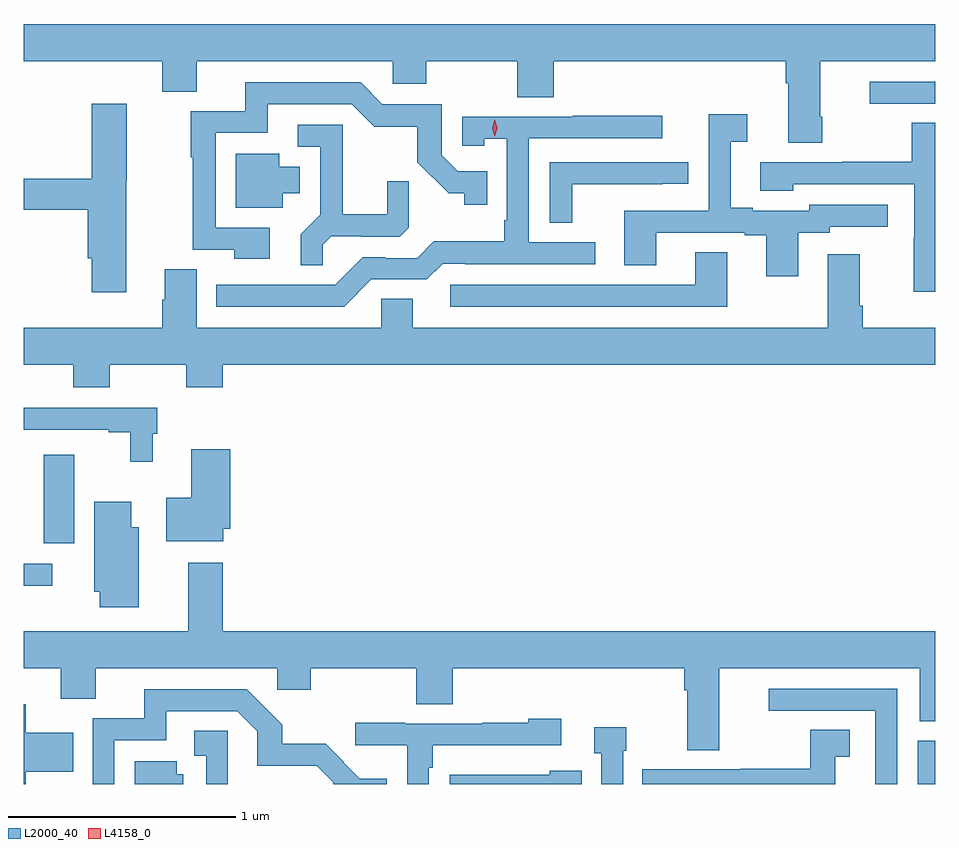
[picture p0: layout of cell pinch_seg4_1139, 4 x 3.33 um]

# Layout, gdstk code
import gdstk
lib = gdstk.Library(unit=1e-6, precision=1e-09)
def R(c, l, rs):  # rectangles x0, y0, x1, y1
    for r in rs: c.add(gdstk.rectangle(r[:2], r[2:], *l))
def P(c, l, *ps):  # polygons
    for p in ps: c.add(gdstk.Polygon(p, *l))
L2000_40 = (2000, 40)
L4158_0 = (4158, 0)

pinch_seg4_1139 = lib.new_cell('pinch_seg4_1139')
R(pinch_seg4_1139, L2000_40, [(422.277,760.349,422.354,760.539), (418.354,761.219,418.48,761.316), (418.442,761.406,418.576,761.794), (422.067,763.335,422.354,763.431)])
P(pinch_seg4_1139, L2000_40, [(421.857,763.276),(421.849,763.276),(421.849,763.52),(422.354,763.52),(422.354,763.684),(418.354,763.684),(418.354,763.52),(418.961,763.52),(418.961,763.387),(419.113,763.387),(419.113,763.52),(419.973,763.52),(419.973,763.422),(420.12,763.422),(420.12,763.52),(420.52,763.52),(420.52,763.363),(420.68,763.363),(420.68,763.52),(421.697,763.52),(421.697,763.424),(421.709,763.424),(421.709,763.164),(421.857,763.164)],
  [(419.434,762.789),(419.196,762.789),(419.196,763.206),(419.425,763.206),(419.425,763.332),(419.793,763.332),(419.892,763.234),(420.081,763.234),(420.081,763.078),(420.218,762.941),(420.288,762.941),(420.288,762.891),(420.389,762.891),(420.389,763.038),(420.258,763.038),(420.189,763.107),(420.189,763.332),(419.928,763.332),(419.832,763.428),(419.327,763.428),(419.327,763.302),(419.088,763.302),(419.088,763.099),(419.095,763.099),(419.095,762.693),(419.278,762.693),(419.278,762.653),(419.434,762.653)],
  [(418.804,762.993),(418.806,762.993),(418.806,763.333),(418.652,763.333),(418.652,763.004),(418.354,763.004),(418.354,762.868),(418.634,762.868),(418.634,762.657),(418.652,762.657),(418.652,762.507),(418.804,762.507)],
  [(421.753,762.768),(421.89,762.768),(421.89,762.795),(422.146,762.795),(422.146,762.891),(421.8,762.891),(421.8,762.864),(421.552,762.864),(421.552,762.877),(421.456,762.877),(421.456,763.168),(421.528,763.168),(421.528,763.288),(421.359,763.288),(421.359,762.864),(420.989,762.864),(420.989,762.625),(421.129,762.625),(421.129,762.768),(421.517,762.768),(421.517,762.756),(421.613,762.756),(421.613,762.576),(421.753,762.576)],
  [(419.88,762.564),(420.123,762.564),(420.192,762.633),(420.292,762.633),(420.292,762.63),(420.862,762.63),(420.862,762.726),(420.57,762.726),(420.57,763.182),(421.156,763.182),(421.156,763.281),(420.763,763.281),(420.763,763.278),(420.279,763.278),(420.279,763.149),(420.375,763.149),(420.375,763.181),(420.474,763.181),(420.474,762.823),(420.462,762.823),(420.462,762.73),(420.154,762.73),(420.081,762.657),(419.942,762.657),(419.942,762.66),(419.841,762.66),(419.721,762.54),(419.198,762.54),(419.198,762.444),(419.76,762.444)],
  [(422.354,763.25),(422.25,763.25),(422.25,763.08),(421.945,763.08),(421.945,763.077),(421.587,763.077),(421.587,762.953),(421.731,762.953),(421.731,762.981),(422.262,762.981),(422.262,762.749),(422.26,762.749),(422.26,762.509),(422.354,762.509)],
  [(419.667,762.716),(419.704,762.753),(419.838,762.753),(419.838,762.75),(420.003,762.75),(420.044,762.791),(420.044,762.993),(419.95,762.993),(419.95,762.85),(419.753,762.85),(419.753,763.242),(419.556,763.242),(419.556,763.146),(419.655,763.146),(419.655,762.847),(419.569,762.761),(419.569,762.625),(419.667,762.625)],
  [(419.491,762.941),(419.566,762.941),(419.566,763.057),(419.476,763.057),(419.476,763.114),(419.285,763.114),(419.285,762.878),(419.491,762.878)],
  [(420.762,762.981),(421.157,762.981),(421.157,762.982),(421.27,762.982),(421.27,763.077),(420.663,763.077),(420.663,762.811),(420.762,762.811)],
  [(421.441,762.683),(421.301,762.683),(421.301,762.54),(420.225,762.54),(420.225,762.444),(421.441,762.444)],
  [(418.731,762.188),(419.068,762.188),(419.068,762.089),(419.228,762.089),(419.228,762.188),(422.354,762.188),(422.354,762.352),(422.036,762.352),(422.036,762.448),(422.023,762.448),(422.023,762.673),(421.883,762.673),(421.883,762.352),(420.061,762.352),(420.061,762.479),(419.922,762.479),(419.922,762.352),(419.113,762.352),(419.113,762.608),(418.973,762.608),(418.973,762.474),(418.961,762.474),(418.961,762.352),(418.354,762.352),(418.354,762.188),(418.571,762.188),(418.571,762.089),(418.731,762.089)],
  [(418.921,761.886),(418.94,761.886),(418.94,762),(418.354,762),(418.354,761.904),(418.727,761.904),(418.727,761.892),(418.822,761.892),(418.822,761.763),(418.921,761.763)],
  [(419.23,761.469),(419.261,761.469),(419.261,761.818),(419.09,761.818),(419.09,761.605),(418.979,761.605),(418.979,761.414),(419.23,761.414)],
  [(418.858,761.476),(418.825,761.476),(418.825,761.587),(418.664,761.587),(418.664,761.192),(418.688,761.192),(418.688,761.124),(418.858,761.124)],
  [(421.405,760.856),(422.285,760.856),(422.285,760.624),(422.354,760.624),(422.354,761.02),(419.228,761.02),(419.228,761.32),(419.075,761.32),(419.075,761.02),(418.354,761.02),(418.354,760.856),(418.517,760.856),(418.517,760.723),(418.669,760.723),(418.669,760.856),(419.466,760.856),(419.466,760.763),(419.613,760.763),(419.613,760.856),(420.076,760.856),(420.076,760.699),(420.236,760.699),(420.236,760.856),(421.253,760.856),(421.253,760.76),(421.265,760.76),(421.265,760.498),(421.405,760.498)],
  [(422.187,760.767),(421.623,760.767),(421.623,760.671),(422.09,760.671),(422.09,760.349),(422.187,760.349)],
  [(418.752,760.542),(418.98,760.542),(418.98,760.668),(419.292,760.668),(419.379,760.581),(419.379,760.428),(419.64,760.428),(419.714,760.355),(419.711,760.352),(419.714,760.349),(419.946,760.349),(419.946,760.373),(419.828,760.373),(419.756,760.445),(419.758,760.447),(419.68,760.526),(419.488,760.526),(419.488,760.609),(419.332,760.764),(418.883,760.764),(418.883,760.638),(418.656,760.638),(418.656,760.349),(418.752,760.349)],
  [(418.362,760.403),(418.571,760.403),(418.571,760.573),(418.362,760.573),(418.362,760.699),(418.354,760.699),(418.354,760.349),(418.362,760.349)],
  [(420.132,760.421),(420.149,760.421),(420.149,760.518),(420.712,760.518),(420.712,760.636),(420.567,760.636),(420.567,760.617),(420.367,760.617),(420.367,760.614),(420.029,760.614),(420.029,760.617),(419.808,760.617),(419.808,760.518),(420.035,760.518),(420.035,760.517),(420.036,760.517),(420.036,760.349),(420.132,760.349)],
  [(420.984,760.494),(420.997,760.494),(420.997,760.598),(420.857,760.598),(420.857,760.485),(420.888,760.485),(420.888,760.349),(420.984,760.349)],
  [(421.914,760.468),(421.978,760.468),(421.978,760.586),(421.806,760.586),(421.806,760.416),(421.501,760.416),(421.501,760.413),(421.069,760.413),(421.069,760.349),(421.914,760.349)],
  [(419.25,760.583),(419.103,760.583),(419.103,760.473),(419.154,760.473),(419.154,760.349),(419.25,760.349)],
  [(419.053,760.392),(419.025,760.392),(419.025,760.449),(418.841,760.449),(418.841,760.349),(419.053,760.349)],
  [(420.803,760.408),(420.663,760.408),(420.663,760.389),(420.223,760.389),(420.223,760.349),(420.803,760.349)])
P(pinch_seg4_1139, L4158_0, [(420.421,763.191),(420.421,763.191),(420.411,763.227),(420.422,763.263),(420.422,763.263),(420.422,763.263),(420.431,763.227),(420.421,763.191)])

lib.write_gds('pinch_seg4_1139.gds')
